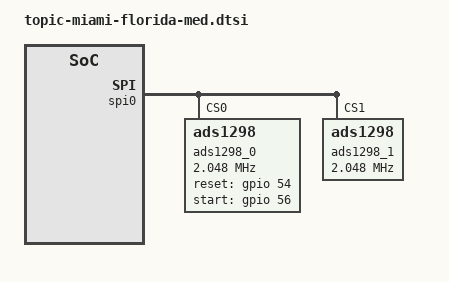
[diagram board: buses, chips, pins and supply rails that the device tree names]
/include/ "topic-miami-florida-gen.dtsi"

&spi0 {
	status = "okay";
	speed-hz = <100000000>;

			/* TI medical ADC */
			ads1298_0: ads1298@0 {
				#address-cells = <1>;
				#size-cells = <0>;
				#clock-cells = <1>;
				compatible = "ads1298";
				/* SPI Setup */
				reg = <0>;
				spi-cpha;
				spi-max-frequency = <2048000>;
				/* GPIO Setup */
				reset-gpio = <&gpio 54 0>;
				start-gpio = <&gpio 56 0>;
				rdy-irq {
					interrupt-parent = <&gic>;
					interrupts = <0 56 0x1>;
				};
			};

			/* TI medical ADC */
			ads1298_1: ads1298@1 {
				#address-cells = <1>;
				#size-cells = <0>;
				#clock-cells = <1>;
				compatible = "ads1298";
				/* SPI Setup */
				reg = <1>;
				spi-cpha;
				spi-max-frequency = <2048000>;
			};
};
